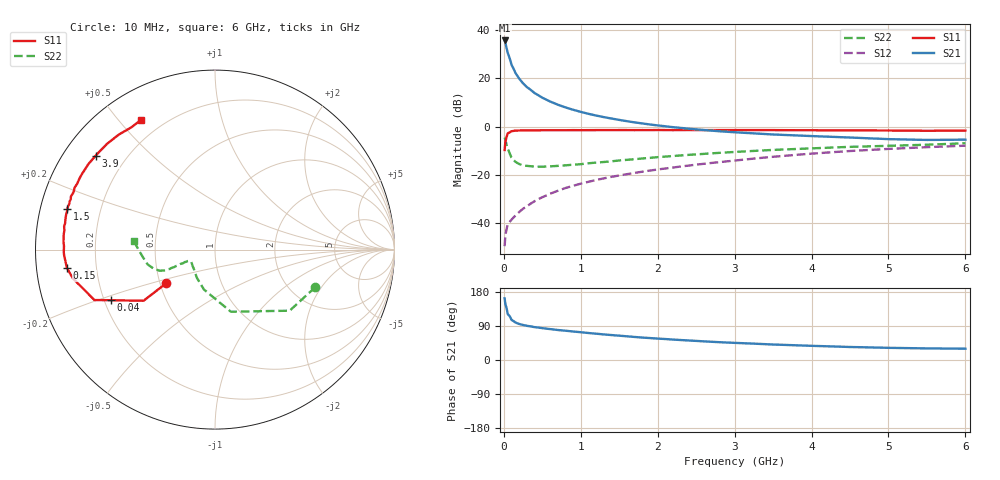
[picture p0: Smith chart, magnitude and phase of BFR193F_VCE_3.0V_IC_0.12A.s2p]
! Infineon Technologies  Discrete & RF Semiconductors
! BFR193F
! VCE =  3.0 V,  IC = 0.12 A
! Common Emitter S-Parameters:  Jan 2017
# GHz  S  MA  R  50
!  f  S11  S21  S12  S22
! GHz  MAG  ANG  MAG  ANG  MAG  ANG  MAG  ANG
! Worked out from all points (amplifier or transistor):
!   77 points, 10 MHz to 6 GHz, reference 50 ohm
!   highest |S21| = 35.7 dB at 10 MHz (marker M1)
!   |S21| within 3 dB of that: start of sweep to 34.62 MHz
!   unconditionally stable (mu >= 1): start of sweep to 15.61 MHz; 222.9 MHz to 3.397 GHz; 5.006 GHz to 5.914 GHz
!   at 130 MHz: K = 0.83, MSG = 30.6 dB, |S12| = -37.4 dB
!   at 2.2 GHz: K = 1.13, MAG = 6.2 dB, |S12| = -16.9 dB
!   at 6 GHz: K = 0.99, MSG = 1.2 dB, |S12| = -7.8 dB
!   S11 on the Smith chart (normalised r, x): 10 MHz: 0.54, -0.23; 40 MHz: 0.23, -0.22; 150 MHz: 0.09, -0.06; 1.5 GHz: 0.08, +0.13; 3.9 GHz: 0.09, +0.34; 6 GHz: 0.12, +0.57
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0.01  0.3301 -145.4  60.63 162.7  0.0034 72.0  0.5969 -20.5
0.02  0.4895 -144.4  53.73 147.3  0.0056 57.8  0.5376 -39.3
0.04  0.6455 -154.1  39.4 132.8  0.0082 51.7  0.3968 -60.2
0.05  0.7282 -157.3  33.77 121.3  0.0095 49.9  0.3571 -75.7
0.1  0.8073 -168.5  18.98 105.5  0.012 51.0  0.2304 -105.6
0.15  0.8318 -173.0  12.99 99.0  0.0145 56.5  0.1886 -121.8
0.2  0.8358 -175.6  9.815 95.0  0.0173 60.0  0.1696 -131.1
0.25  0.841 -177.7  7.877 92.4  0.0202 63.5  0.1581 -138.8
0.3  0.8427 -178.9  6.59 90.2  0.0227 66.3  0.1553 -143.1
0.4  0.8416 178.6  4.95 86.7  0.0289 70.1  0.1502 -149.3
0.5  0.8454 177.0  3.977 84.1  0.0349 72.2  0.1491 -152.4
0.6  0.8463 175.3  3.327 81.6  0.0411 74.6  0.1516 -154.7
0.7  0.8469 173.9  2.86 79.2  0.0474 75.6  0.1551 -155.6
0.9  0.8506 171.2  2.242 75.2  0.0601 77.0  0.1639 -157.2
1.1  0.8496 169.0  1.847 71.2  0.0727 77.5  0.1756 -157.0
1.5  0.8534 164.6  1.383 64.2  0.0983 77.6  0.2007 -157.2
2.1  0.8529 158.8  1.021 55.3  0.1371 76.7  0.2415 -156.9
3.1  0.8519 149.7  0.752 44.4  0.2074 73.7  0.307 -157.7
3.9  0.8459 141.7  0.651 38.1  0.2698 69.3  0.3517 -162.0
4.1  0.844 139.7  0.632 36.8  0.2848 67.8  0.362 -163.6
5.1  0.8327 128.8  0.55 31.8  0.3537 60.1  0.4074 -175.1
6  0.8318 119.8  0.54 29.9  0.4053 53.4  0.4558 173.9
